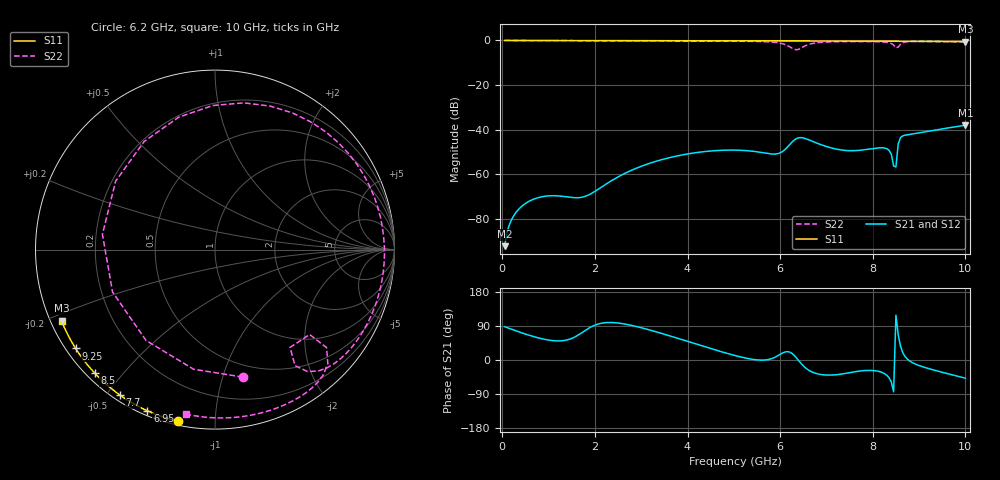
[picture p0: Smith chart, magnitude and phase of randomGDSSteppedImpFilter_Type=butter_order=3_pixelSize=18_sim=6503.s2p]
! freq	dB(S11)	phase(S11)	dB(S12)	phase(S12)
!  dB(S21)	phase(S21)	dB(S22)	phase(S22)
!S-par simulation data
#  GHz  S  DB  R 50
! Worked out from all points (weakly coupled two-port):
!   200 points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, 50 MHz to 10 GHz, reference 50 ohm
!   highest |S21| = -38.06 dB at 10 GHz (marker M1); lowest = -92.3 dB at 50 MHz (marker M2)
!   lowest |S11| = -0.5 dB at 10 GHz (marker M3), VSWR 33.66, Z = 1.56 - j11 ohm
!   |S11| at or under -10 dB: nowhere
!   |S22| runs from -4.2 to 0.0 dB; largest |S21 - S12| = 0
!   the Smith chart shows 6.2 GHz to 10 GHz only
!   S11 on the Smith chart (normalised r, x): 6.2 GHz: 0.02, -0.81; 6.95 GHz: 0.02, -0.67; 7.7 GHz: 0.02, -0.54; 8.5 GHz: 0.02, -0.42; 9.25 GHz: 0.03, -0.32; 10 GHz: 0.03, -0.22
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0.05  -0.00 -0.9  -92.33 87.8  -92.33 87.8  -0.00 -3.7
0.9  -0.02 -16.1  -69.98 54.9  -69.98 54.9  -0.08 -63.2
1.75  -0.04 -31.1  -70.22 74.6  -70.22 74.6  -0.13 -116.3
2.6  -0.06 -45.7  -60.14 95.9  -60.14 95.9  -0.17 -163.1
3.4  -0.08 -59.0  -53.74 71.6  -53.74 71.6  -0.20 155.7
4.3  -0.10 -73.4  -50.04 37.8  -50.04 37.8  -0.25 108.8
5.05  -0.13 -85.0  -49.22 11.0  -49.22 11.0  -0.32 66.1
5.85  -0.17 -96.9  -50.99 5.1  -50.99 5.1  -0.79 1.0
6.05  -0.18 -99.8  -49.87 18.3  -49.87 18.3  -1.47 -32.4
6.2  -0.18 -102.0  -46.87 21.2  -46.87 21.2  -2.77 -77.6
6.3  -0.19 -103.4  -44.77 12.7  -44.77 12.7  -3.94 -127.2
6.4  -0.19 -104.9  -43.68 -1.7  -43.68 -1.7  -3.97 172.3
6.55  -0.20 -107.0  -44.05 -21.1  -44.05 -21.1  -2.33 105.4
6.7  -0.21 -109.2  -45.29 -32.2  -45.29 -32.2  -1.34 69.0
6.95  -0.23 -112.7  -47.26 -39.4  -47.26 -39.4  -0.75 35.6
7.7  -0.28 -123.2  -49.33 -29.4  -49.33 -29.4  -0.48 -15.7
8.35  -0.34 -132.2  -49.26 -46.6  -49.26 -46.6  -1.03 -49.5
8.5  -0.35 -134.3  -56.80 118.3  -56.80 118.3  -3.26 -52.5
8.55  -0.36 -135.0  -46.39 65.9  -46.39 65.9  -3.00 -41.9
8.6  -0.36 -135.7  -43.56 35.9  -43.56 35.9  -1.65 -41.3
9.25  -0.43 -144.7  -40.60 -24.2  -40.60 -24.2  -0.49 -74.3
10  -0.52 -155.1  -38.06 -48.0  -38.06 -48.0  -0.63 -100.1
